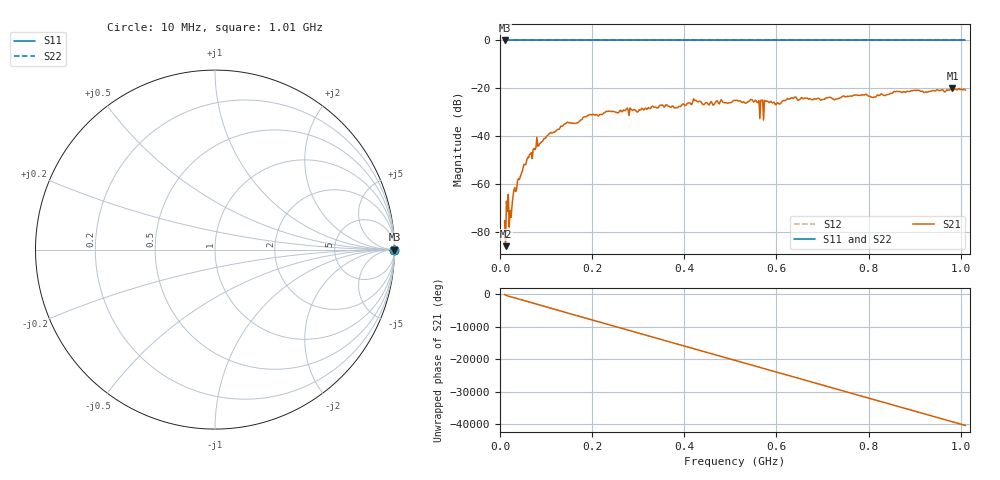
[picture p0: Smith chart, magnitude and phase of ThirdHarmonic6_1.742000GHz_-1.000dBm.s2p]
! 8/16/2025 9:00:16 PM
! C:\ANRITSUVNA\TEMP\TEMP.S2P
! CHANNEL.1
! TR.MEASUREMENT
! RAW.DATA
! RF.CORRECTION.OFF
! AVERAGING.OFF
! IF.BANDWIDTH: 5KHZ
! SWEEPTYPE:  FREQ.SWEEP(Linear)
! Reference Plane Port Info
! PORT:  PORT1  PORT2
! DISTANCE:  0  m  0  m
! TIME:  0  s  0  s
! PHASE.OFFSET:  0  deg.  0  deg.
! LOSS:  0  dB  0  dB
! REF.LOSS:  0  dB  0  dB
! REF.FREQ:  0  Hz  0  Hz
! Power Info
! POWER:  -20  dBm  -20  dBm
! EFF.POWER:  -20  dBm  -20  dBm
! SOURCE.ATTEN:  0  dB  0  dB
! TEST.ATTEN:  0  dB  0  dB
# GHZ S RI R 50.0
! FREQ.GHZ  S11RE  S11IM  S21RE  S21IM  S12RE  S12IM  S22RE  S22IM
!; PortSelection: Port_12
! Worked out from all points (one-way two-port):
!   501 points, 10 MHz to 1.01 GHz, reference 50 ohm
!   highest |S21| = -20.05 dB at 982 MHz (marker M1); lowest = -85.9 dB at 12 MHz (marker M2)
!   lowest |S11| = 0.0 dB at 10 MHz (marker M3)
!   |S11| at or under -10 dB: nowhere
!   |S22| runs from 0.0 to 0.0 dB; largest |S21 - S12| = 1.1
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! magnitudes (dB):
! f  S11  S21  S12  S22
! 10 MHz  0.0  -75.3  0.0  0.0
! 12 MHz  0.0  -85.9  0.0  0.0
! 18 MHz  0.0  -64.2  0.0  0.0
! 24 MHz  0.0  -73.9  0.0  0.0
! 34 MHz  0.0  -63.1  0.0  0.0
! 56 MHz  0.0  -51.8  0.0  0.0
! 76 MHz  0.0  -45.6  0.0  0.0
! 142 MHz  0.0  -34.8  0.0  0.0
! 178 MHz  0.0  -33.0  0.0  0.0
! 234 MHz  0.0  -29.7  0.0  0.0
! 344 MHz  0.0  -27.9  0.0  0.0
! 382 MHz  0.0  -28.0  0.0  0.0
! 424 MHz  0.0  -24.9  0.0  0.0
! 442 MHz  0.0  -26.8  0.0  0.0
! 510 MHz  0.0  -25.1  0.0  0.0
! 558 MHz  0.0  -26.0  0.0  0.0
! 568 MHz  0.0  -25.0  0.0  0.0
! 578 MHz  0.0  -25.4  0.0  0.0
! 678 MHz  0.0  -24.8  0.0  0.0
! 844 MHz  0.0  -22.5  0.0  0.0
! 982 MHz  0.0  -20.0  0.0  0.0
! 1.01 GHz  0.0  -20.7  0.0  0.0
